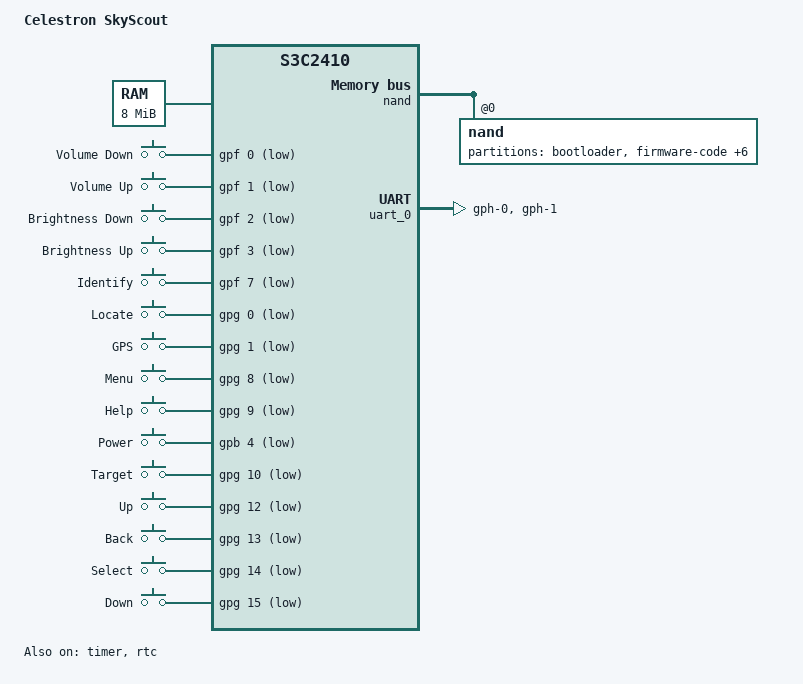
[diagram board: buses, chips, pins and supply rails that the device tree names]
// SPDX-License-Identifier: GPL-2.0-only
/*
 * Celestron SkyScout handheld planetarium
 */

/dts-v1/;

#include <dt-bindings/clock/s3c2410.h>
#include <dt-bindings/gpio/gpio.h>
#include <dt-bindings/input/input.h>
#include "s3c24xx.dtsi"
#include "s3c2410-pinctrl.h"

/ {
	model = "Celestron SkyScout";
	compatible = "celestron,skyscout", "samsung,s3c2410";

	aliases {
		serial0 = &uart_0;
	};

	chosen {
		stdout-path = "serial0:9600n8";
		bootargs = "earlycon console=ttySAC0,9600n8 console=tty0 root=/dev/mmcblk0p2 rootwait ro";
	};

	cpus {
		#address-cells = <1>;
		#size-cells = <0>;

		cpu@0 {
			device_type = "cpu";
			compatible = "arm,arm920t";
			reg = <0>;
		};
	};

	memory@30000000 {
		device_type = "memory";
		reg = <0x30000000 0x00800000>;
	};

	xti: clock-0 {
		compatible = "fixed-clock";
		#clock-cells = <0>;
		clock-frequency = <12000000>;
		clock-output-names = "xti";
	};

	clocks: clock-controller@4c000000 {
		compatible = "samsung,s3c2410-clock";
		reg = <0x4c000000 0x20>;
		#clock-cells = <1>;
	};

	gpio_keys: gpio-keys-polled {
		compatible = "gpio-keys-polled";
		label = "SkyScout front panel";
		poll-interval = <10>;

		key-volume-down {
			label = "Volume Down";
			linux,code = <KEY_VOLUMEDOWN>;
			gpios = <&gpf 0 GPIO_ACTIVE_LOW>;
			debounce-interval = <20>;
		};

		key-volume-up {
			label = "Volume Up";
			linux,code = <KEY_VOLUMEUP>;
			gpios = <&gpf 1 GPIO_ACTIVE_LOW>;
			debounce-interval = <20>;
		};

		key-brightness-down {
			label = "Brightness Down";
			linux,code = <KEY_BRIGHTNESSDOWN>;
			gpios = <&gpf 2 GPIO_ACTIVE_LOW>;
			debounce-interval = <20>;
		};

		key-brightness-up {
			label = "Brightness Up";
			linux,code = <KEY_BRIGHTNESSUP>;
			gpios = <&gpf 3 GPIO_ACTIVE_LOW>;
			debounce-interval = <20>;
		};

		key-identify {
			label = "Identify";
			linux,code = <KEY_PROG1>;
			gpios = <&gpf 7 GPIO_ACTIVE_LOW>;
			debounce-interval = <20>;
		};

		key-locate {
			label = "Locate";
			linux,code = <KEY_PROG2>;
			gpios = <&gpg 0 GPIO_ACTIVE_LOW>;
			debounce-interval = <20>;
		};

		key-gps {
			label = "GPS";
			linux,code = <KEY_PROG3>;
			gpios = <&gpg 1 GPIO_ACTIVE_LOW>;
			debounce-interval = <20>;
		};

		key-menu {
			label = "Menu";
			linux,code = <KEY_MENU>;
			gpios = <&gpg 8 GPIO_ACTIVE_LOW>;
			debounce-interval = <20>;
		};

		key-help {
			label = "Help";
			linux,code = <KEY_HELP>;
			gpios = <&gpg 9 GPIO_ACTIVE_LOW>;
			debounce-interval = <20>;
		};

		key-power {
			label = "Power";
			linux,code = <KEY_POWER>;
			gpios = <&gpb 4 GPIO_ACTIVE_LOW>;
			debounce-interval = <20>;
		};

		key-target {
			label = "Target";
			linux,code = <KEY_PROG4>;
			gpios = <&gpg 10 GPIO_ACTIVE_LOW>;
			debounce-interval = <20>;
		};

		key-up {
			label = "Up";
			linux,code = <KEY_UP>;
			gpios = <&gpg 12 GPIO_ACTIVE_LOW>;
			debounce-interval = <20>;
		};

		key-back {
			label = "Back";
			linux,code = <KEY_BACK>;
			gpios = <&gpg 13 GPIO_ACTIVE_LOW>;
			debounce-interval = <20>;
		};

		key-select {
			label = "Select";
			linux,code = <KEY_ENTER>;
			gpios = <&gpg 14 GPIO_ACTIVE_LOW>;
			debounce-interval = <20>;
		};

		key-down {
			label = "Down";
			linux,code = <KEY_DOWN>;
			gpios = <&gpg 15 GPIO_ACTIVE_LOW>;
			debounce-interval = <20>;
		};
	};

	nand: nand-controller@4e000000 {
		compatible = "samsung,s3c2410-nand";
		reg = <0x4e000000 0x40>;
		clocks = <&clocks HCLK_NAND>;
		clock-names = "nand";
		#address-cells = <1>;
		#size-cells = <0>;

		nand@0 {
			reg = <0>;
			nand-ecc-mode = "none";

			partitions {
				compatible = "fixed-partitions";
				#address-cells = <1>;
				#size-cells = <1>;

				partition@0 {
					label = "bootloader";
					reg = <0x0000000 0x0004000>;
					read-only;
				};

				partition@4000 {
					label = "firmware-code";
					reg = <0x0004000 0x00b8000>;
					read-only;
				};

				partition@bc000 {
					label = "firmware-data";
					reg = <0x00bc000 0x0004000>;
					read-only;
				};

				partition@c0000 {
					label = "factory-nvdata";
					reg = <0x00c0000 0x0004000>;
					read-only;
				};

				partition@c4000 {
					label = "reserved";
					reg = <0x00c4000 0x0004000>;
					read-only;
				};

				partition@c8000 {
					label = "database";
					reg = <0x00c8000 0x1e40000>;
					read-only;
				};

				partition@1f08000 {
					label = "gps-assist";
					reg = <0x1f08000 0x0004000>;
					read-only;
				};

				partition@1f0c000 {
					label = "tail";
					reg = <0x1f0c000 0x00f4000>;
					read-only;
				};
			};
		};
	};
};

/*
 * Linux 6.1 has no S3C2410 pinctrl match data.  The S3C2412 GPIO register
 * layout is compatible for the A-H banks used by SkyScout.
 */
&pinctrl_0 {
	compatible = "samsung,s3c2412-pinctrl";

	gpa: gpa-gpio-bank {
		gpio-controller;
		#gpio-cells = <2>;
	};

	gpb: gpb-gpio-bank {
		gpio-controller;
		#gpio-cells = <2>;
	};

	gpc: gpc-gpio-bank {
		gpio-controller;
		#gpio-cells = <2>;
	};

	gpd: gpd-gpio-bank {
		gpio-controller;
		#gpio-cells = <2>;
	};

	gpe: gpe-gpio-bank {
		gpio-controller;
		#gpio-cells = <2>;
	};

	gpf: gpf-gpio-bank {
		gpio-controller;
		#gpio-cells = <2>;
		interrupt-controller;
		#interrupt-cells = <2>;
	};

	gpg: gpg-gpio-bank {
		gpio-controller;
		#gpio-cells = <2>;
		interrupt-controller;
		#interrupt-cells = <2>;
	};

	gph: gph-gpio-bank {
		gpio-controller;
		#gpio-cells = <2>;
	};

	gpj: gpj-gpio-bank {
		gpio-controller;
		#gpio-cells = <2>;
	};

	uart0_data: uart0-data-pins {
		samsung,pins = "gph-0", "gph-1";
		samsung,pin-function = <S3C2410_PIN_FUNC_2>;
	};
};

&timer {
	clocks = <&clocks PCLK_PWM>;
	clock-names = "timers";
	samsung,pwm-outputs = <0 1 2>;
	status = "okay";
};

&uart_0 {
	clocks = <&clocks PCLK_UART0>, <&clocks PCLK_UART0>;
	clock-names = "uart", "clk_uart_baud0";
	pinctrl-names = "default";
	pinctrl-0 = <&uart0_data>;
	status = "okay";
};

&rtc {
	clocks = <&clocks PCLK_RTC>;
	clock-names = "rtc";
	status = "okay";
};
